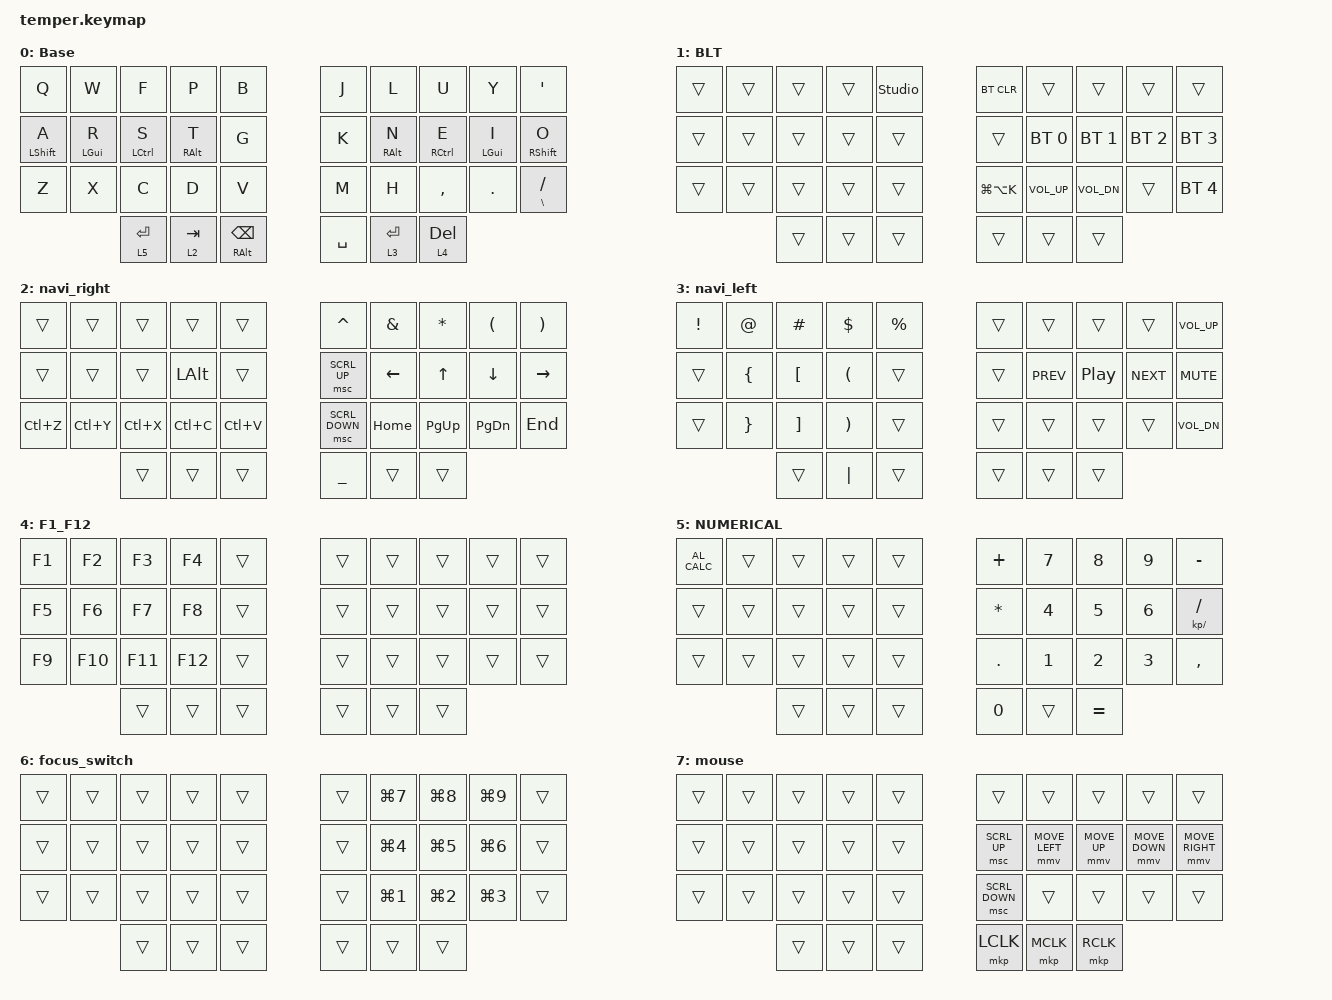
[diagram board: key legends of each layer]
/*
 * Copyright (c) 2020 duckyb
 *
 * SPDX-License-Identifier: MIT
 */

#include <dt-bindings/zmk/mouse.h>
#include <input/processors.dtsi>

#define ZMK_POINTING_DEFAULT_MOVE_VAL 1800  // 600, 1200
#define ZMK_MOUSE_DEFAULT_SCRL_VAL 20    // 10

#include <behaviors.dtsi>
#include <dt-bindings/zmk/bt.h>
#include <dt-bindings/zmk/keys.h>
#include <dt-bindings/zmk/pointing.h>

&mmv_input_listener {
    precisionnav {
        layers = <1>;
        input-processors = <&zip_xy_scaler 1 3>;
    };

    precisionnum {
        layers = <2>;
        input-processors = <&zip_xy_scaler 1 2>;
    };
};

&mt {
    tapping-term-ms = <150>;
    flavor = "balanced";
};

&lt { tapping-term-ms = <165>; };

/ {
    behaviors {
        mmv {
            acceleration-exponent = <2>; // 1
            time-to-max-speed-ms = <40>; // 40
            delay-ms = <0>; // 0
        };

        hm: hm {
            compatible = "zmk,behavior-hold-tap";
            label = "HM";
            bindings = <&kp>, <&kp>;

            #binding-cells = <2>;
            quick-tap-ms = <65>;
            tapping-term-ms = <125>;
            require-prior-idle-ms = <125>;
            global-quick-tap;
            flavor = "tap-preferred";
        };

        hml: hml {
            compatible = "zmk,behavior-hold-tap";
            label = "HML";
            bindings = <&kp>, <&kp>;

            #binding-cells = <2>;
            tapping-term-ms = <105>;
            quick-tap-ms = <60>;
            flavor = "tap-preferred";
            hold-trigger-key-positions = <0 1 2 3 4 20 21 22 23 24 14 25 15 5 6 16 26 27 17 7 8 18 28 29 19 9 11 12 13>;
            require-prior-idle-ms = <25>;
        };

        hmr: hmr {
            compatible = "zmk,behavior-hold-tap";
            label = "HMR";
            bindings = <&kp>, <&kp>;

            #binding-cells = <2>;
            tapping-term-ms = <105>;
            quick-tap-ms = <60>;
            flavor = "tap-preferred";
            hold-trigger-key-positions = <0 10 20 21 1 11 12 2 3 4 24 14 13 23 22 25 26 28 27 29 9 8 7 6 5 15 16 17 18 30 31 32 33 34 35>;
            require-prior-idle-ms = <25>;
        };

        mo_tog: mo_tog {
            compatible = "zmk,behavior-hold-tap";
            label = "MO_TOG";
            bindings = <&mo>, <&tog>;

            #binding-cells = <2>;
            tapping-term-ms = <200>;
            quick-tap-ms = <180>;
        };

        /* Tap for Backspace; hold while pressing any letter for AltGr. */
        space_alt: backspace_altgr {
            compatible = "zmk,behavior-hold-tap";
            label = "BACKSPACE_ALTGR";
            bindings = <&kp>, <&kp>;

            #binding-cells = <2>;
            tapping-term-ms = <235>;
            quick-tap-ms = <100>;
            flavor = "tap-preferred";
            hold-trigger-key-positions = <0 1 2 3 4 5 6 7 8 9 10 11 12 13 14 15 16 17 18 19 20 21 22 23 24 25 26 27 28 29>;
        };
    };

    combos {
        compatible = "zmk,combos";

        Caps {
            bindings = <&kp CAPSLOCK>;
            key-positions = <10 19>;
            layers = <0>;
        };

        Alt+tab {
            bindings = <&kp LA(TAB)>;
            key-positions = <10 11 12>;
            layers = <0>;
            timeout-ms = <100>;
        };

        Tilde {
            bindings = <&kp TILDE>;
            key-positions = <0 10>;
            layers = <0>;
        };

        Cut {
            bindings = <&kp LC(X)>;
            key-positions = <21 22>;
            layers = <0>;
        };

        Copy {
            bindings = <&kp LC(C)>;
            key-positions = <22 23>;
            layers = <0>;
        };

        Paste {
            bindings = <&kp LC(V)>;
            key-positions = <23 24>;
            layers = <0>;
        };

        screenshot {
            bindings = <&kp LG(LS(S))>;
            key-positions = <9 8>;
            layers = <0>;
        };

        semicolon {
            bindings = <&kp SEMICOLON>;
            key-positions = <27 28>;
            layers = <0>;
        };

        minus {
            bindings = <&kp MINUS>;
            key-positions = <18 19>;
            layers = <0>;
            timeout-ms = <150>;
        };

        boot_l {
            bindings = <&bootloader>;
            key-positions = <0 4 32>;
            layers = <0>;
        };

        alt_f4 {
            bindings = <&kp LA(F4)>;
            key-positions = <0 1 2>;
            layers = <0>;
        };

        esc_left {
            bindings = <&kp ESCAPE>;
            key-positions = <0 1>;
            layers = <0>;
            timeout-ms = <100>;
        };

        bluetooth {
            bindings = <&mo 1>;
            key-positions = <32 33>;
        };

        win_nav_left {
            bindings = <&kp LG(LEFT)>;
            key-positions = <16 17>;
            layers = <6>;
        };

        win_nav_right {
            bindings = <&kp LG(RIGHT)>;
            key-positions = <19 18>;
            layers = <6>;
        };

        win_nav_up {
            bindings = <&kp LG(UP_ARROW)>;
            key-positions = <7 8>;
            layers = <6>;
        };

        win_nav_down {
            bindings = <&kp LG(DOWN_ARROW)>;
            key-positions = <17 18>;
            layers = <6>;
        };

        win_nav_left_shift {
            bindings = <&kp LG(LS(LEFT))>;
            key-positions = <16 17 18>;
            layers = <6>;
        };

        win_nav_right_shift {
            bindings = <&kp LG(LS(RIGHT))>;
            key-positions = <19 18 17>;
            layers = <6>;
        };

        num_equal {
            bindings = <&kp EQUAL>;
            key-positions = <16 17 18>;
            layers = <5>;
            timeout-ms = <175>;
        };

        num_par_left {
            bindings = <&kp LEFT_PARENTHESIS>;
            key-positions = <16 17>;
            layers = <5>;
        };

        num_par_right {
            bindings = <&kp RIGHT_PARENTHESIS>;
            key-positions = <18 19>;
            layers = <5>;
        };

        del_left {
            bindings = <&kp DEL>;
            key-positions = <20 23>;
            timeout-ms = <200>;
        };

        mouse_layer_switch {
            bindings = <&tog 7>;
            key-positions = <14 15>;
            timeout-ms = <175>;
        };

        layer6 {
            bindings = <&mo 6>;
            key-positions = <33 34>;
        };
    };

    keymap {
        compatible = "zmk,keymap";

        base {
            display-name = "Base";
            bindings = <
  &kp Q              &kp W           &kp F               &kp P             &kp B                             &kp J      &kp L             &kp U                &kp Y           &kp SQT
  &hml LEFT_SHIFT A  &hm LEFT_GUI R  &hm LEFT_CONTROL S  &hml RIGHT_ALT T  &kp G                             &kp K      &hmr RIGHT_ALT N  &hm RIGHT_CONTROL E  &hm LEFT_GUI I  &hmr RIGHT_SHIFT O
  &kp Z              &kp X           &kp C               &kp D             &kp V                             &kp M      &kp H             &kp COMMA            &kp DOT         &mt BACKSLASH SLASH
                                     &lt 5 ENTER         &lt 2 TAB         &space_alt RIGHT_ALT BACKSPACE    &kp SPACE  &lt 3 ENTER       &lt 4 DEL
            >;
        };

        blt {
            display-name = "BLT";
            bindings = <
  &trans  &trans  &trans  &trans  &studio_unlock    &bt BT_CLR     &trans        &trans        &trans        &trans
  &trans  &trans  &trans  &trans  &trans    &trans         &bt BT_SEL 0  &bt BT_SEL 1  &bt BT_SEL 2  &bt BT_SEL 3
  &trans  &trans  &trans  &trans  &trans    &kp LG(LA(K))  &kp C_VOL_UP  &kp C_VOL_DN  &trans        &bt BT_SEL 4
                  &trans  &trans  &trans    &trans         &trans        &trans
            >;
        };

        navi_right {
            bindings = <
  &trans     &trans     &trans     &trans        &trans       &kp CARET       &kp AMPERSAND  &kp ASTERISK  &kp LEFT_PARENTHESIS  &kp RIGHT_PARENTHESIS
  &trans     &trans     &trans     &kp LEFT_ALT  &trans       &msc SCRL_UP    &kp LEFT       &kp UP_ARROW  &kp DOWN_ARROW        &kp RIGHT
  &kp LC(Z)  &kp LC(Y)  &kp LC(X)  &kp LC(C)     &kp LC(V)    &msc SCRL_DOWN  &kp HOME       &kp PAGE_UP   &kp PAGE_DOWN         &kp END
                        &trans     &trans        &trans       &kp UNDERSCORE  &trans         &trans
            >;
        };

        navi_left {
            bindings = <
  &kp EXCLAMATION  &kp AT_SIGN      &kp HASH           &kp DOLLAR             &kp PERCENT    &trans  &trans      &trans            &trans      &kp C_VOLUME_UP
  &trans           &kp LEFT_BRACE   &kp LEFT_BRACKET   &kp LEFT_PARENTHESIS   &trans         &trans  &kp C_PREV  &kp C_PLAY_PAUSE  &kp C_NEXT  &kp C_MUTE
  &trans           &kp RIGHT_BRACE  &kp RIGHT_BRACKET  &kp RIGHT_PARENTHESIS  &trans         &trans  &trans      &trans            &trans      &kp C_VOL_DN
                                    &trans             &kp PIPE               &trans         &trans  &trans      &trans
            >;
        };

        F1_F12 {
            bindings = <
  &kp F1  &kp F2   &kp F3   &kp F4   &trans    &trans  &trans  &trans  &trans  &trans
  &kp F5  &kp F6   &kp F7   &kp F8   &trans    &trans  &trans  &trans  &trans  &trans
  &kp F9  &kp F10  &kp F11  &kp F12  &trans    &trans  &trans  &trans  &trans  &trans
                   &trans   &trans   &trans    &trans  &trans  &trans
            >;
        };

        NUMERICAL {
            bindings = <
  &kp C_AL_CALC  &trans  &trans  &trans  &trans    &kp PLUS      &kp N7        &kp N8        &kp N9        &kp MINUS
  &trans         &trans  &trans  &trans  &trans    &kp ASTERISK  &kp NUMBER_4  &kp N5        &kp NUMBER_6  &mt KP_DIVIDE SLASH
  &trans         &trans  &trans  &trans  &trans    &kp PERIOD    &kp NUMBER_1  &kp NUMBER_2  &kp NUMBER_3  &kp COMMA
                         &trans  &trans  &trans    &kp N0        &trans        &kp EQUAL
            >;
        };

        focus_switch {
            bindings = <
  &trans  &trans  &trans  &trans  &trans    &trans  &kp LG(N7)  &kp LG(N8)  &kp LG(N9)  &trans
  &trans  &trans  &trans  &trans  &trans    &trans  &kp LG(N4)  &kp LG(N5)  &kp LG(N6)  &trans
  &trans  &trans  &trans  &trans  &trans    &trans  &kp LG(N1)  &kp LG(N2)  &kp LG(N3)  &trans
                  &trans  &trans  &trans    &trans  &trans      &trans
            >;
        };

        mouse {
            bindings = <
  &trans  &trans  &trans  &trans  &trans    &trans          &trans          &trans        &trans          &trans
  &trans  &trans  &trans  &trans  &trans    &msc SCRL_UP    &mmv MOVE_LEFT  &mmv MOVE_UP  &mmv MOVE_DOWN  &mmv MOVE_RIGHT
  &trans  &trans  &trans  &trans  &trans    &msc SCRL_DOWN  &trans          &trans        &trans          &trans
                  &trans  &trans  &trans    &mkp LCLK       &mkp MCLK       &mkp RCLK
            >;
        };
    };
};
